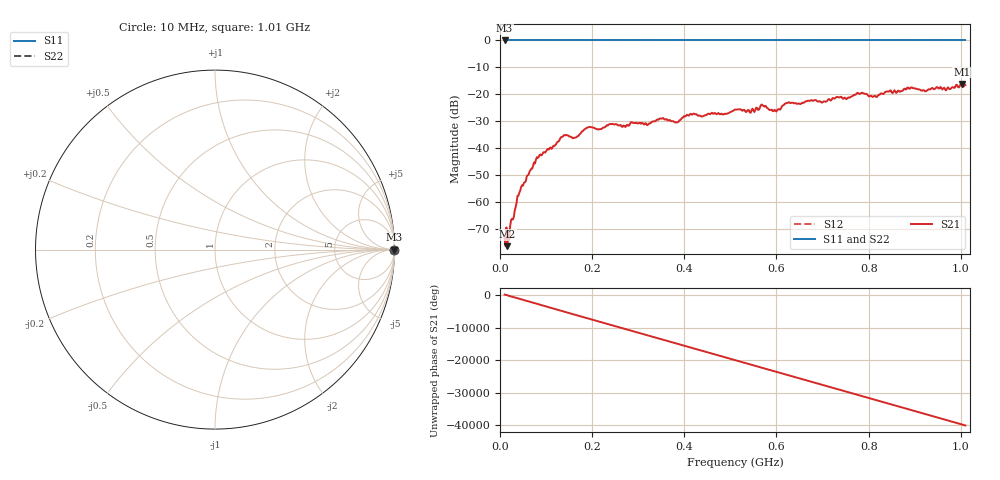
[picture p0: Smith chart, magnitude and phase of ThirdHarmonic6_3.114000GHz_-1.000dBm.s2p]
! 8/17/2025 9:13:27 AM
! C:\ANRITSUVNA\TEMP\TEMP.S2P
! CHANNEL.1
! TR.MEASUREMENT
! RAW.DATA
! RF.CORRECTION.OFF
! AVERAGING.OFF
! IF.BANDWIDTH: 5KHZ
! SWEEPTYPE:  FREQ.SWEEP(Linear)
! Reference Plane Port Info
! PORT:  PORT1  PORT2
! DISTANCE:  0  m  0  m
! TIME:  0  s  0  s
! PHASE.OFFSET:  0  deg.  0  deg.
! LOSS:  0  dB  0  dB
! REF.LOSS:  0  dB  0  dB
! REF.FREQ:  0  Hz  0  Hz
! Power Info
! POWER:  -20  dBm  -20  dBm
! EFF.POWER:  -20  dBm  -20  dBm
! SOURCE.ATTEN:  0  dB  0  dB
! TEST.ATTEN:  0  dB  0  dB
# GHZ S RI R 50.0
! FREQ.GHZ  S11RE  S11IM  S21RE  S21IM  S12RE  S12IM  S22RE  S22IM
!; PortSelection: Port_12
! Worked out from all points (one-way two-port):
!   501 points, 10 MHz to 1.01 GHz, reference 50 ohm
!   highest |S21| = -16.14 dB at 1.002 GHz (marker M1); lowest = -76.3 dB at 16 MHz (marker M2)
!   lowest |S11| = 0.0 dB at 10 MHz (marker M3)
!   |S11| at or under -10 dB: nowhere
!   |S22| runs from 0.0 to 0.0 dB; largest |S21 - S12| = 1.1
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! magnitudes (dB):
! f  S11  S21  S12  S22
! 10 MHz  0.0  -73.3  0.0  0.0
! 16 MHz  0.0  -76.3  0.0  0.0
! 42 MHz  0.0  -56.5  0.0  0.0
! 82 MHz  0.0  -43.6  0.0  0.0
! 136 MHz  0.0  -35.7  0.0  0.0
! 162 MHz  0.0  -36.1  0.0  0.0
! 178 MHz  0.0  -33.7  0.0  0.0
! 192 MHz  0.0  -32.2  0.0  0.0
! 344 MHz  0.0  -29.4  0.0  0.0
! 384 MHz  0.0  -30.4  0.0  0.0
! 416 MHz  0.0  -27.5  0.0  0.0
! 510 MHz  0.0  -25.6  0.0  0.0
! 548 MHz  0.0  -25.3  0.0  0.0
! 570 MHz  0.0  -24.1  0.0  0.0
! 596 MHz  0.0  -25.7  0.0  0.0
! 624 MHz  0.0  -23.2  0.0  0.0
! 678 MHz  0.0  -22.3  0.0  0.0
! 786 MHz  0.0  -19.4  0.0  0.0
! 814 MHz  0.0  -20.6  0.0  0.0
! 844 MHz  0.0  -19.0  0.0  0.0
! 1.002 GHz  0.0  -16.1  0.0  0.0
! 1.01 GHz  0.0  -16.5  0.0  0.0
